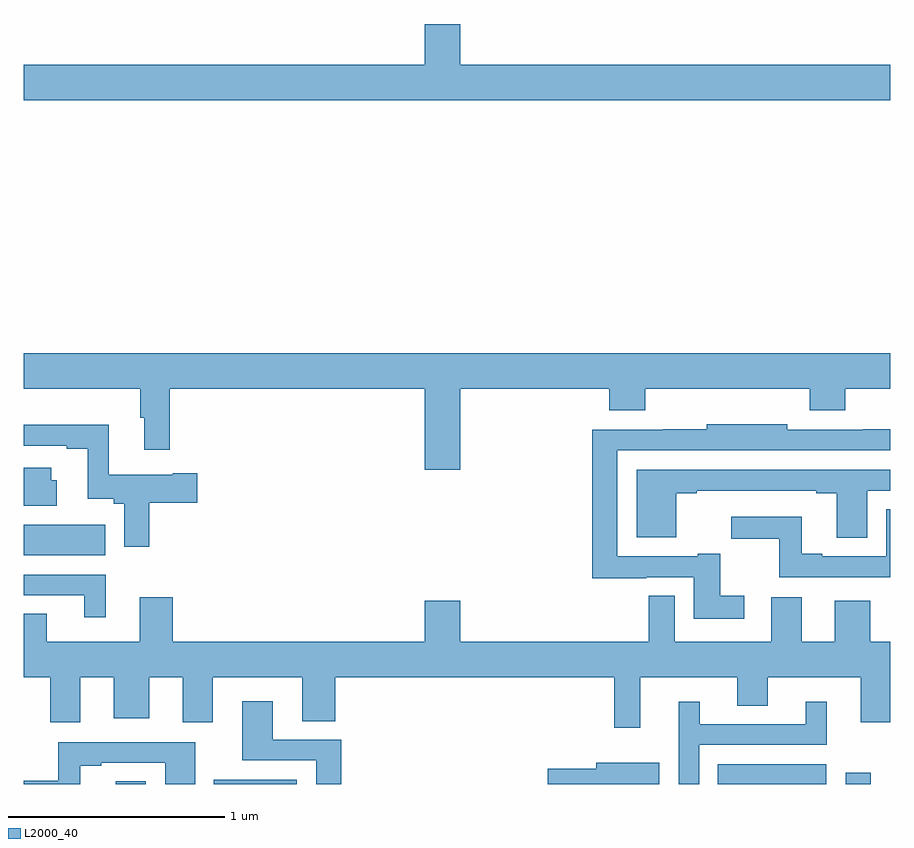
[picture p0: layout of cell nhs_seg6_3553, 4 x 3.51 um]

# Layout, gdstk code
import gdstk
lib = gdstk.Library(unit=1e-6, precision=1e-09)
def R(c, l, rs):  # rectangles x0, y0, x1, y1
    for r in rs: c.add(gdstk.rectangle(r[:2], r[2:], *l))
def P(c, l, *ps):  # polygons
    for p in ps: c.add(gdstk.Polygon(p, *l))
L2000_40 = (2000, 40)

nhs_seg6_3553 = lib.new_cell('nhs_seg6_3553')
R(nhs_seg6_3553, L2000_40, [(319.424,957.5,319.564,957.512), (319.877,957.5,320.26,957.52), (322.204,957.5,322.705,957.592), (322.794,957.5,322.91,957.553), (319,958.556,319.375,958.696)])
P(nhs_seg6_3553, L2000_40, [(323,960.82),(321.016,960.82),(321.016,961.009),(320.852,961.009),(320.852,960.82),(319,960.82),(319,960.656),(323,960.656)],
  [(321.016,959.324),(321.704,959.324),(321.704,959.225),(321.869,959.225),(321.869,959.324),(322.628,959.324),(322.628,959.225),(322.793,959.225),(322.793,959.324),(323,959.324),(323,959.488),(319,959.488),(319,959.324),(319.537,959.324),(319.537,959.192),(319.556,959.192),(319.556,959.043),(319.673,959.043),(319.673,959.324),(320.852,959.324),(320.852,958.95),(321.016,958.95)],
  [(322.327,958.369),(322.216,958.369),(322.216,958.564),(322.112,958.564),(322.112,958.551),(321.741,958.551),(321.741,959.04),(323,959.04),(323,959.138),(322.876,959.138),(322.876,959.136),(322.524,959.136),(322.524,959.161),(322.152,959.161),(322.152,959.138),(321.952,959.138),(321.952,959.136),(321.625,959.136),(321.625,958.45),(321.873,958.45),(321.873,958.455),(322.094,958.455),(322.094,958.262),(322.327,958.262)],
  [(319.58,958.798),(319.801,958.798),(319.801,958.935),(319.688,958.935),(319.688,958.927),(319.393,958.927),(319.393,959.158),(319,959.158),(319,959.061),(319.199,959.061),(319.199,959.049),(319.295,959.049),(319.295,958.817),(319.416,958.817),(319.416,958.793),(319.464,958.793),(319.464,958.596),(319.58,958.596)],
  [(319.153,958.902),(319.126,958.902),(319.126,958.96),(319,958.96),(319,958.784),(319.153,958.784)],
  [(322.894,958.854),(323,958.854),(323,958.95),(321.83,958.95),(321.83,958.64),(322.012,958.64),(322.012,958.842),(322.108,958.842),(322.108,958.854),(322.658,958.854),(322.658,958.842),(322.754,958.842),(322.754,958.636),(322.894,958.636)],
  [(323,958.769),(322.982,958.769),(322.982,958.551),(322.687,958.551),(322.687,958.564),(322.591,958.564),(322.591,958.734),(322.266,958.734),(322.266,958.633),(322.489,958.633),(322.489,958.455),(323,958.455)],
  [(319.378,958.467),(319,958.467),(319,958.371),(319.28,958.371),(319.28,958.269),(319.378,958.269)],
  [(322.295,957.862),(322.435,957.862),(322.435,957.992),(322.865,957.992),(322.865,957.786),(323,957.786),(323,958.156),(322.909,958.156),(322.909,958.345),(322.745,958.345),(322.745,958.156),(322.591,958.156),(322.591,958.363),(322.451,958.363),(322.451,958.156),(322.006,958.156),(322.006,958.37),(321.885,958.37),(321.885,958.156),(321.016,958.156),(321.016,958.345),(320.852,958.345),(320.852,958.156),(319.688,958.156),(319.688,958.363),(319.535,958.363),(319.535,958.156),(319.105,958.156),(319.105,958.286),(319,958.286),(319,957.992),(319.121,957.992),(319.121,957.786),(319.261,957.786),(319.261,957.992),(319.415,957.992),(319.415,957.804),(319.579,957.804),(319.579,957.992),(319.733,957.992),(319.733,957.786),(319.873,957.786),(319.873,957.992),(320.285,957.992),(320.285,957.79),(320.438,957.79),(320.438,957.992),(321.727,957.992),(321.727,957.759),(321.845,957.759),(321.845,957.992),(322.295,957.992)],
  [(320.465,957.705),(320.149,957.705),(320.149,957.883),(320.009,957.883),(320.009,957.609),(320.349,957.609),(320.349,957.5),(320.465,957.5)],
  [(322.119,957.681),(322.708,957.681),(322.708,957.88),(322.61,957.88),(322.61,957.777),(322.12,957.777),(322.12,957.88),(322.023,957.88),(322.023,957.5),(322.119,957.5)],
  [(319.261,957.585),(319.357,957.585),(319.357,957.597),(319.652,957.597),(319.652,957.5),(319.792,957.5),(319.792,957.693),(319.159,957.693),(319.159,957.515),(319,957.515),(319,957.5),(319.261,957.5)],
  [(321.933,957.598),(321.644,957.598),(321.644,957.57),(321.42,957.57),(321.42,957.5),(321.933,957.5)])

lib.write_gds('nhs_seg6_3553.gds')
